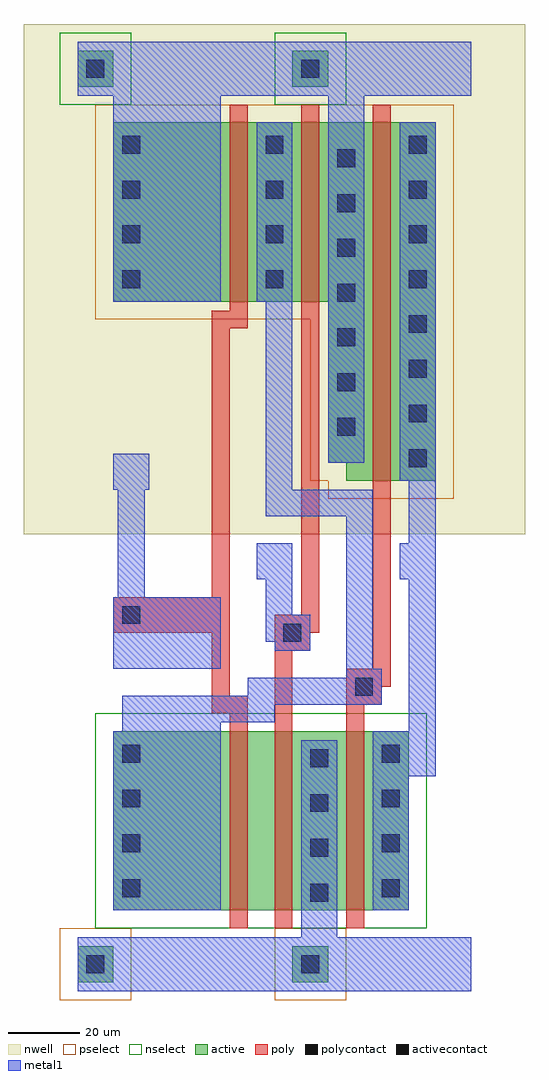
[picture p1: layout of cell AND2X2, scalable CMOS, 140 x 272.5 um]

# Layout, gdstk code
import gdstk
lib = gdstk.Library(unit=1e-6, precision=1e-09)
def R(c, l, rs):  # rectangles x0, y0, x1, y1
    for r in rs: c.add(gdstk.rectangle(r[:2], r[2:], *l))
def A(c, l, x, y, w, h, nx, ny, dx, dy):  # array of equal rectangles
    R(c, l, [(x+i*dx, y+j*dy, x+i*dx+w, y+j*dy+h) for i in range(nx) for j in range(ny)])
def P(c, l, *ps):  # polygons
    for p in ps: c.add(gdstk.Polygon(p, *l))
nwell = (42, 0)
active = (43, 0)
pselect = (44, 0)
nselect = (45, 0)
poly = (46, 0)
polycontact = (47, 0)
activecontact = (48, 0)
metal1 = (49, 0)

and2x2 = lib.new_cell('AND2X2')
R(and2x2, nwell, [(-20,120,120,262.5)])
R(and2x2, active, [(-5,-5,5,5), (55,-5,65,5), (5,15,87.5,65), (70,135,95,140), (65,140,95,185), (5,185,95,235), (-5,245,5,255), (55,245,65,255)])
R(and2x2, pselect, [(-10,-10,10,10), (50,-10,70,10), (65,130,100,135), (60,135,100,180), (0,180,100,240)])
R(and2x2, nselect, [(0,10,92.5,70), (-10,240,10,260), (50,240,70,260)])
R(and2x2, poly, [(37.5,10,42.5,70), (50,10,55,87.5), (70,10,75,72.5), (32.5,70,42.5,75), (70,72.5,80,77.5), (32.5,75,37.5,92.5), (70,77.5,82.5,82.5), (77.5,82.5,82.5,240), (50,87.5,60,92.5), (5,92.5,37.5,102.5), (50,92.5,62.5,97.5), (57.5,97.5,62.5,240), (32.5,102.5,37.5,177.5), (32.5,177.5,42.5,182.5), (37.5,182.5,42.5,240)])
R(and2x2, polycontact, [(72.5,75,77.5,80), (52.5,90,57.5,95), (7.5,95,12.5,100)])
A(and2x2, activecontact, 60, 17.5, 5, 5, 1, 4, 0, 12.5)
A(and2x2, activecontact, 7.5, 18.75, 5, 5, 1, 4, 0, 12.5)
A(and2x2, activecontact, 80, 18.75, 5, 5, 1, 4, 0, 12.5)
A(and2x2, activecontact, 87.5, 138.75, 5, 5, 1, 4, 0, 12.5)
A(and2x2, activecontact, 67.5, 147.5, 5, 5, 1, 7, 0, 12.5)
A(and2x2, activecontact, 7.5, 188.75, 5, 5, 3, 4, 40, 12.5)
R(and2x2, activecontact, [(-2.5,-2.5,2.5,2.5), (57.5,-2.5,62.5,2.5), (-2.5,247.5,2.5,252.5), (57.5,247.5,62.5,252.5)])
R(and2x2, metal1, [(-5,-7.5,105,7.5), (57.5,7.5,67.5,62.5), (5,15,35,65), (77.5,15,87.5,52.5), (77.5,52.5,95,65), (7.5,65,35,67.5), (87.5,65,95,107.5), (7.5,67.5,50,72.5), (7.5,72.5,80,75), (42.5,75,80,80), (70,80,80,82.5), (5,82.5,35,102.5), (70,82.5,77.5,125), (50,87.5,60,90), (47.5,90,60,97.5), (47.5,97.5,55,107.5), (45,107.5,55,117.5), (85,107.5,95,117.5), (87.5,117.5,95,135), (47.5,125,77.5,132.5), (5,132.5,15,142.5), (47.5,132.5,55,185), (85,135,95,235), (65,140,75,242.5), (5,185,35,242.5), (45,185,55,235), (-5,242.5,105,257.5)])
P(and2x2, metal1, [(6.25,83.75),(6.25,141.25),(13.75,141.25),(13.75,91.25),(23.75,91.25),(23.75,83.75)])

lib.write_gds('AND2X2.gds')
